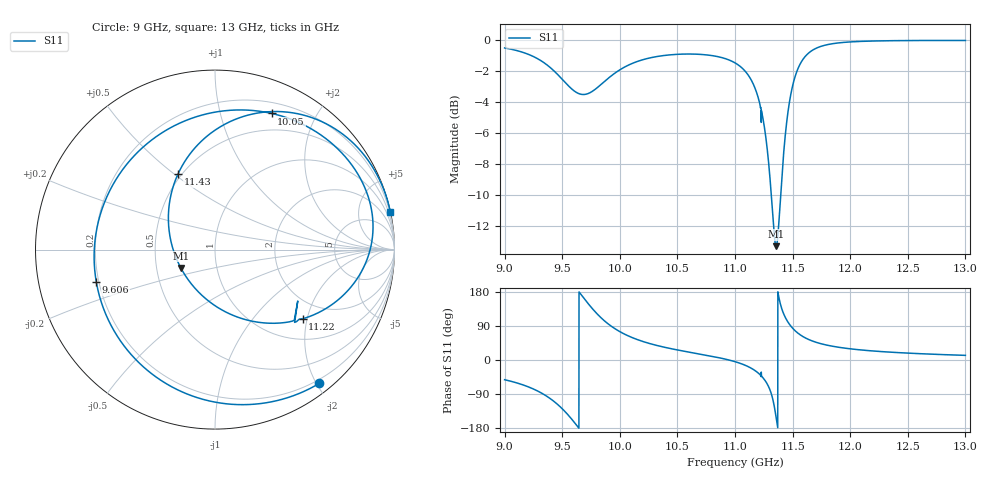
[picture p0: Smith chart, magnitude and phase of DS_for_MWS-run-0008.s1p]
! TOUCHSTONE file generated by CST DESIGN STUDIO
! Date and time: Tue Feb  4 14:30:10 2025
! Project name: C:\Work\MatlabApps\UnitCellOptimizationMatlab\CST\unitcell.cst
! Tree item: Tasks\Sweep1\SPara1\S-Parameters
! Header version: 2024
! Port assignment regex: !\s*Touchstone port\s*([0-9]+)\s*=\s*(CST MWS port|CST DES external port|CST DES block port)\s*(.+)\s* \(\"(.*)\"\)(\s*mode\s*([0-9]+))?.*
! Touchstone port assignment:
! Touchstone port 1 = CST DES external port 1 ("")
# GHz S MA R 50
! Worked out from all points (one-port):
!   4001 points, 9 GHz to 13 GHz, reference 50 ohm
!   lowest |S11| = -13.3 dB at 11.36 GHz (marker M1), VSWR 1.55, Z = 33.4 - j7.18 ohm
!   |S11| at or under -10 dB: 11.32 GHz to 11.4 GHz (81.14 MHz wide, 0.715 % of centre)
!   S11 on the Smith chart (normalised r, x): 9 GHz: 0.15, -2.04; 9.606 GHz: 0.19, -0.13; 10.05 GHz: 0.31, +1.45; 11.22 GHz: 1.50, -1.88; 11.43 GHz: 0.48, +0.52; 13 GHz: 0.04, +9.32
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9  0.9451 -52.0
9.165  0.913 -66.3
9.317  0.8589 -86.7
9.414  0.8059 -105.9
9.5  0.7485 -128.6
9.606  0.6854 -164.9
9.697  0.6687 159.6
9.805  0.7035 121.1
9.894  0.751 96.5
10  0.803 74.9
10.047  0.8218 67.4
10.245  0.8748 44.7
10.5  0.9013 26.5
10.779  0.8951 11.0
11  0.8458 -4.4
11.124  0.763 -18.9
11.216  0.6217 -38.3
11.293  0.3981 -71.2
11.357  0.2161 -151.7
11.393  0.3027 149.0
11.431  0.47 115.9
11.5  0.7126 84.0
11.59  0.8682 61.8
11.688  0.9364 48.3
11.818  0.9713 38.0
12  0.9885 29.5
12.5  0.9986 18.2
13  0.9992 12.2
